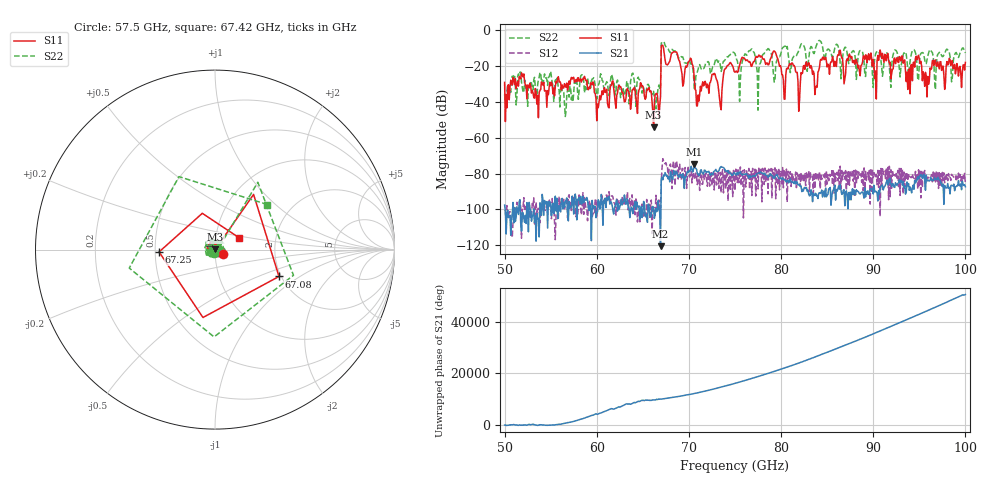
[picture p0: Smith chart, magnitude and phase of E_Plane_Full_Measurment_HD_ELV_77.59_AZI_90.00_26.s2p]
! 11/26/2026 3:28:17 PM
! C:\ANRITSUVNA\TEMP\TEMP.S2P
! CHANNEL.1
! TR.MEASUREMENT
! RAW.DATA
# HZ S RI R 50.0
! FREQ.HZ  S11RE  S11IM  S21RE  S21IM  S12RE  S12IM  S22RE  S22IM
!; PortSelection: Port_12
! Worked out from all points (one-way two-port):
!   601 points, 50 GHz to 100 GHz, reference 50 ohm
!   highest |S21| = -74.74 dB at 70.58 GHz (marker M1); lowest = -120.5 dB at 66.92 GHz (marker M2)
!   lowest |S11| = -54.0 dB at 66.17 GHz (marker M3), VSWR 1.00, Z = 50.1 + j0.144 ohm
!   |S11| at or under -10 dB: start of sweep to 67 GHz; 67.24 GHz to end of sweep
!   |S22| runs from -48.1 to -5.6 dB; largest |S21 - S12| = 0.00034
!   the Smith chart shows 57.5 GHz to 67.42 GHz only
!   S11 on the Smith chart (normalised r, x): 57.5 GHz: 1.09, -0.05; 67.08 GHz: 1.95, -0.69; 67.25 GHz: 0.52, -0.02; 67.42 GHz: 1.29, +0.18
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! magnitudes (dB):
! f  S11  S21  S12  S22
! 50 GHz  -29.0  -97.6  -100.8  -35.8
! 51.67 GHz  -26.3  -94.5  -94.7  -23.3
! 57.5 GHz  -26.2  -102.6  -93.4  -34.7
! 58.42 GHz  -27.1  -96.0  -96.6  -24.7
! 60.17 GHz  -43.1  -94.6  -96.3  -30.4
! 66.17 GHz  -54.0  -99.4  -98.8  -34.0
! 66.67 GHz  -41.5  -95.0  -99.2  -31.7
! 66.92 GHz  -37.0  -120.5  -99.5  -32.8
! 67.08 GHz  -8.3  -82.1  -76.9  -6.7
! 67.25 GHz  -10.1  -80.9  -72.9  -6.2
! 67.42 GHz  -16.6  -79.4  -74.5  -8.3
! 70.58 GHz  -27.3  -74.7  -82.3  -33.1
! 73.42 GHz  -42.4  -76.4  -79.3  -19.7
! 75 GHz  -23.3  -80.0  -89.3  -13.0
! 79.25 GHz  -11.5  -82.6  -83.1  -28.8
! 80.25 GHz  -27.9  -82.9  -87.9  -9.3
! 83.42 GHz  -24.6  -95.6  -81.3  -10.8
! 91.67 GHz  -16.8  -85.9  -94.6  -15.2
! 93.75 GHz  -33.0  -86.8  -84.0  -21.3
! 94.83 GHz  -15.0  -81.8  -88.6  -27.9
! 95.83 GHz  -37.2  -83.9  -82.9  -16.5
! 100 GHz  -17.9  -87.3  -85.6  -12.6
